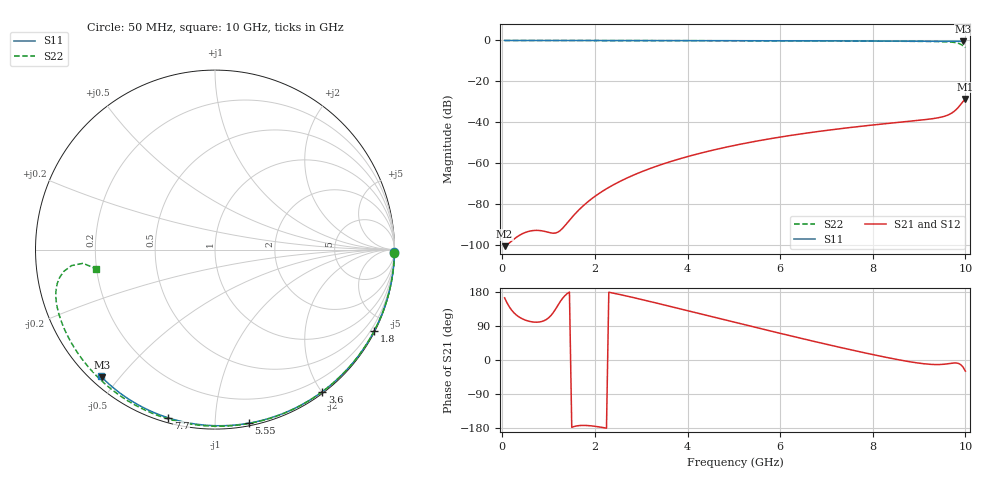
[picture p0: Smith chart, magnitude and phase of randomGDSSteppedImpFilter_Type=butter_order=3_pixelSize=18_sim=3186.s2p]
! freq	dB(S11)	phase(S11)	dB(S12)	phase(S12)
!  dB(S21)	phase(S21)	dB(S22)	phase(S22)
!S-par simulation data
#  GHz  S  DB  R 50
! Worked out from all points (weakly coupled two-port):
!   200 points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, 50 MHz to 10 GHz, reference 50 ohm
!   highest |S21| = -28.67 dB at 10 GHz (marker M1); lowest = -100.6 dB at 50 MHz (marker M2)
!   lowest |S11| = -0.4 dB at 9.95 GHz (marker M3), VSWR 39.92, Z = 1.51 - j22.5 ohm
!   |S11| at or under -10 dB: nowhere
!   |S22| runs from -3.5 to 0.0 dB; largest |S21 - S12| = 0
!   S11 on the Smith chart (normalised r, x): 50 MHz: open; 1.8 GHz: 0.04, -4.15; 3.6 GHz: 0.02, -2.01; 5.55 GHz: 0.02, -1.21; 7.7 GHz: 0.02, -0.76; 10 GHz: 0.03, -0.44
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0.05  -0.00 -0.8  -100.60 164.0  -100.60 164.0  -0.00 -1.0
0.85  -0.02 -12.9  -93.08 101.5  -93.08 101.5  -0.02 -16.3
1.75  -0.03 -26.3  -80.80 -172.6  -80.80 -172.6  -0.04 -33.2
1.8  -0.03 -27.1  -79.80 -172.7  -79.80 -172.7  -0.04 -34.1
2.1  -0.04 -31.5  -74.67 -176.7  -74.67 -176.7  -0.05 -39.6
2.45  -0.05 -36.6  -69.98 175.1  -69.98 175.1  -0.06 -46.0
2.9  -0.06 -43.0  -65.20 162.8  -65.20 162.8  -0.07 -54.0
3.4  -0.07 -50.1  -60.95 148.2  -60.95 148.2  -0.08 -62.8
3.6  -0.07 -52.9  -59.47 142.2  -59.47 142.2  -0.09 -66.2
4.3  -0.09 -62.5  -55.00 121.2  -55.00 121.2  -0.11 -78.1
5.05  -0.11 -72.5  -51.15 98.6  -51.15 98.6  -0.14 -90.3
5.55  -0.13 -79.0  -48.98 83.7  -48.98 83.7  -0.16 -98.3
6.7  -0.18 -93.5  -44.89 50.0  -44.89 50.0  -0.23 -116.0
7.7  -0.24 -105.6  -42.09 22.2  -42.09 22.2  -0.30 -131.2
8.35  -0.29 -113.2  -40.52 5.5  -40.52 5.5  -0.36 -141.1
9.1  -0.35 -121.9  -38.79 -9.8  -38.79 -9.8  -0.47 -153.2
9.55  -0.40 -127.0  -37.06 -11.0  -37.06 -11.0  -0.63 -162.2
9.7  -0.41 -128.7  -35.58 -8.6  -35.58 -8.6  -0.82 -166.3
9.8  -0.43 -129.9  -33.84 -7.8  -33.84 -7.8  -1.12 -169.9
9.9  -0.43 -131.0  -31.28 -12.3  -31.28 -12.3  -1.89 -173.6
9.95  -0.44 -131.5  -29.85 -18.8  -29.85 -18.8  -2.62 -174.1
10  -0.43 -132.1  -28.67 -29.3  -28.67 -29.3  -3.46 -170.9
